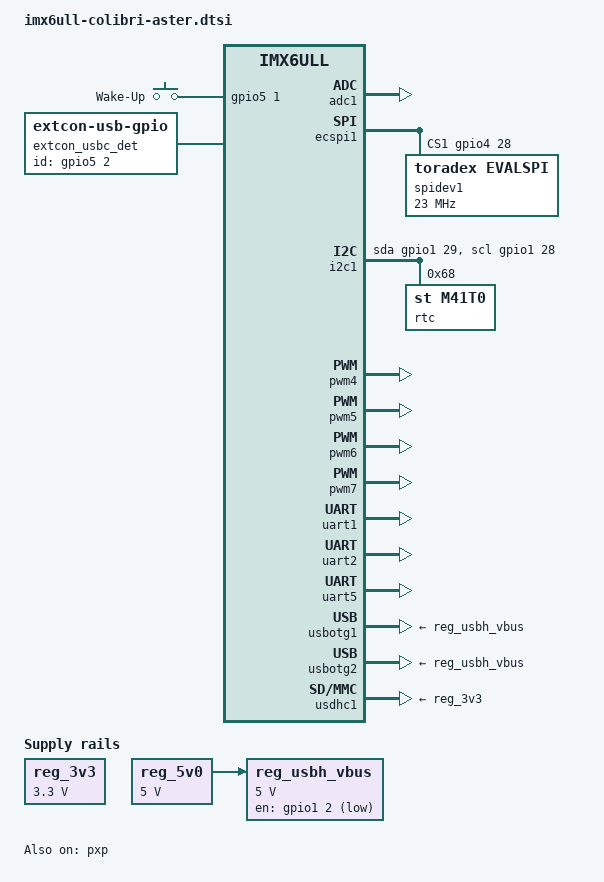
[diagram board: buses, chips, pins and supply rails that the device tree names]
/*
 * Copyright 2018 Toradex AG
 *
 * This program is free software; you can redistribute it and/or modify
 * it under the terms of the GNU General Public License as published by
 * the Free Software Foundation; either version 2 of the License, or
 * (at your option) any later version.
 */

#include <dt-bindings/input/input.h>
#include <dt-bindings/pwm/pwm.h>

/ {
	chosen {
		bootargs = "console=ttymxc0,115200";
	};

	gpio-keys {
		compatible = "gpio-keys";
		pinctrl-names = "default";
		pinctrl-0 = <&pinctrl_snvs_gpiokeys>;

		power {
			label = "Wake-Up";
			gpios = <&gpio5 1 GPIO_ACTIVE_HIGH>;
			linux,code = <KEY_WAKEUP>;
			debounce-interval = <10>;
			gpio-key,wakeup;
		};
	};

	extcon_usbc_det: usbc_det {
		compatible = "linux,extcon-usb-gpio";
		debounce = <25>;
		id-gpio = <&gpio5 2 GPIO_ACTIVE_HIGH>;
		pinctrl-names = "default";
		pinctrl-0 = <&pinctrl_snvs_usbc_det>;
	};

	reg_3v3: regulator-3v3 {
		compatible = "regulator-fixed";
		regulator-name = "3.3V";
		regulator-min-microvolt = <3300000>;
		regulator-max-microvolt = <3300000>;
		regulator-always-on;
	};

	reg_5v0: regulator-5v0 {
		compatible = "regulator-fixed";
		regulator-name = "5V";
		regulator-min-microvolt = <5000000>;
		regulator-max-microvolt = <5000000>;
	};

	reg_usbh_vbus: regulator-usbh-vbus {
		compatible = "regulator-fixed";
		pinctrl-names = "default";
		pinctrl-0 = <&pinctrl_usbh_reg>;
		regulator-name = "VCC_USB[1-4]";
		regulator-min-microvolt = <5000000>;
		regulator-max-microvolt = <5000000>;
		gpio = <&gpio1 2 GPIO_ACTIVE_LOW>;
		vin-supply = <&reg_5v0>;
	};
};

&adc1 {
	status = "okay";
};

&pxp {
	status = "okay";
};

&ecspi1 {
	status = "okay";

	fsl,spi-num-chipselects = <2>;
	/* Note: the gpio4 28 is muxed with pinctrl_gpio4 group, controlled
	 * by iomuxc.
	 */
	cs-gpios = <
		&gpio3 26 GPIO_ACTIVE_HIGH /* SODIMM_86 LCD_DATA21 */
		&gpio4 28 GPIO_ACTIVE_HIGH /* SODIMM_65 CSI_DATA07 */
	>;

	spidev1: spidev@1 {
		compatible = "toradex,evalspi";
		reg = <1>;
		spi-max-frequency = <23000000>;
		status = "okay";
	};
};

&i2c1 {
	pinctrl-names = "default", "gpio";
	pinctrl-0 = <&pinctrl_i2c1>;
	pinctrl-1 = <&pinctrl_i2c1_gpio>;
	sda-gpios = <&gpio1 29 (GPIO_ACTIVE_HIGH | GPIO_OPEN_DRAIN)>;
	scl-gpios = <&gpio1 28 (GPIO_ACTIVE_HIGH | GPIO_OPEN_DRAIN)>;
	status = "okay";

	/* M41T0M6 real time clock on carrier board */
	rtc: m41t0m6@68 {
		compatible = "st,m41t0";
		reg = <0x68>;
	};
};

/* PWM <A> */
&pwm4 {
	status = "okay";
};

/* PWM <B> */
&pwm5 {
	status = "okay";
};

/* PWM <C> */
&pwm6 {
	status = "okay";
};

/* PWM <D> */
&pwm7 {
	status = "okay";
};

&uart1 {
	status = "okay";
};

&uart2 {
	status = "okay";
};

&uart5 {
	status = "okay";
};

&usbotg1 {
	extcon = <&extcon_usbc_det &extcon_usbc_det>;
	vbus-supply = <&reg_usbh_vbus>;
	status = "okay";
};

&usbotg2 {
	vbus-supply = <&reg_usbh_vbus>;
	status = "okay";
};

&usdhc1 {
	vmmc-supply = <&reg_3v3>;
	status = "okay";
};
